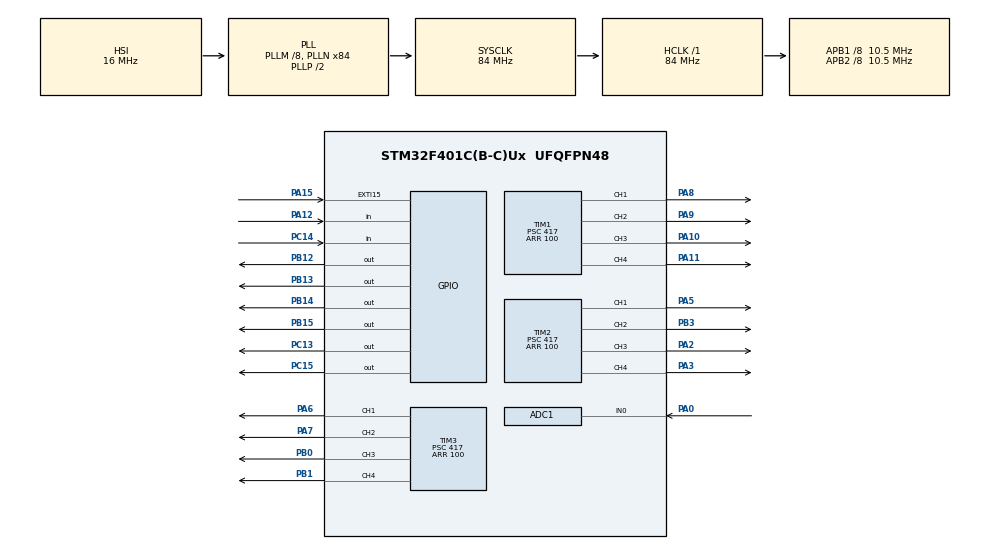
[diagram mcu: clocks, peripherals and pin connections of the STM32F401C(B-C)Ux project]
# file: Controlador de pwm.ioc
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ADC1.Channel-4\#ChannelRegularConversion=ADC_CHANNEL_0
ADC1.NbrOfConversionFlag=1
ADC1.Rank-4\#ChannelRegularConversion=1
ADC1.SamplingTime-4\#ChannelRegularConversion=ADC_SAMPLETIME_480CYCLES
ADC1.master=1
Mcu.Family=STM32F4
Mcu.Name=STM32F401C(B-C)Ux
Mcu.Package=UFQFPN48
NVIC.EXTI15_10_IRQn=true\:0\:0\:true\:false\:true\:true\:true\:true
NVIC.PriorityGroup=NVIC_PRIORITYGROUP_4
PA0-WKUP.Signal=ADCx_IN0
PA10.Signal=S_TIM1_CH3
PA11.Signal=S_TIM1_CH4
PA12.Signal=GPIO_Input
PA15.GPIO_ModeDefaultEXTI=GPIO_MODE_IT_FALLING
PA15.Signal=GPXTI15
PA2.Signal=S_TIM2_CH3
PA3.Signal=S_TIM2_CH4
PA5.Signal=S_TIM2_CH1_ETR
PA6.Signal=S_TIM3_CH1
PA7.Signal=S_TIM3_CH2
PA8.Signal=S_TIM1_CH1
PA9.Signal=S_TIM1_CH2
PB0.Signal=S_TIM3_CH3
PB1.Signal=S_TIM3_CH4
PB12.Signal=GPIO_Output
PB13.Signal=GPIO_Output
PB14.Signal=GPIO_Output
PB15.Signal=GPIO_Output
PB3.Signal=S_TIM2_CH2
PC13-ANTI_TAMP.Signal=GPIO_Output
PC14-OSC32_IN.Signal=GPIO_Input
PC15-OSC32_OUT.Signal=GPIO_Output
ProjectManager.HeapSize=0x200
ProjectManager.StackSize=0x400
ProjectManager.TargetToolchain=STM32CubeIDE
RCC.48MHZClocksFreq_Value=42000000
RCC.AHBFreq_Value=84000000
RCC.APB1CLKDivider=RCC_HCLK_DIV8
RCC.APB1Freq_Value=10500000
RCC.APB1TimFreq_Value=21000000
RCC.APB2CLKDivider=RCC_HCLK_DIV8
RCC.APB2Freq_Value=10500000
RCC.APB2TimFreq_Value=21000000
RCC.CortexFreq_Value=84000000
RCC.HCLKFreq_Value=84000000
RCC.HSE_VALUE=25000000
RCC.HSI_VALUE=16000000
RCC.LSE_VALUE=32768
RCC.PLLM=8
RCC.PLLN=84
RCC.SYSCLKFreq_VALUE=84000000
RCC.SYSCLKSource=RCC_SYSCLKSOURCE_PLLCLK
RCC.VCOOutputFreq_Value=168000000
SH.ADCx_IN0.0=ADC1_IN0,IN0
SH.S_TIM1_CH1.0=TIM1_CH1,PWM Generation1 CH1
SH.S_TIM1_CH2.0=TIM1_CH2,PWM Generation2 CH2
SH.S_TIM1_CH3.0=TIM1_CH3,PWM Generation3 CH3
SH.S_TIM1_CH4.0=TIM1_CH4,PWM Generation4 CH4
SH.S_TIM2_CH1_ETR.0=TIM2_CH1,PWM Generation1 CH1
SH.S_TIM2_CH2.0=TIM2_CH2,PWM Generation2 CH2
SH.S_TIM2_CH3.0=TIM2_CH3,PWM Generation3 CH3
SH.S_TIM2_CH4.0=TIM2_CH4,PWM Generation4 CH4
SH.S_TIM3_CH1.0=TIM3_CH1,PWM Generation1 CH1
SH.S_TIM3_CH2.0=TIM3_CH2,PWM Generation2 CH2
SH.S_TIM3_CH3.0=TIM3_CH3,PWM Generation3 CH3
SH.S_TIM3_CH4.0=TIM3_CH4,PWM Generation4 CH4
TIM1.Channel-PWM\ Generation1\ CH1=TIM_CHANNEL_1
TIM1.Channel-PWM\ Generation2\ CH2=TIM_CHANNEL_2
TIM1.Channel-PWM\ Generation3\ CH3=TIM_CHANNEL_3
TIM1.Channel-PWM\ Generation4\ CH4=TIM_CHANNEL_4
TIM1.Period=100
TIM1.Prescaler=417
TIM2.Channel-PWM\ Generation1\ CH1=TIM_CHANNEL_1
TIM2.Channel-PWM\ Generation2\ CH2=TIM_CHANNEL_2
TIM2.Channel-PWM\ Generation3\ CH3=TIM_CHANNEL_3
TIM2.Channel-PWM\ Generation4\ CH4=TIM_CHANNEL_4
TIM2.Period=100
TIM2.Prescaler=417
TIM3.Channel-PWM\ Generation1\ CH1=TIM_CHANNEL_1
TIM3.Channel-PWM\ Generation2\ CH2=TIM_CHANNEL_2
TIM3.Channel-PWM\ Generation3\ CH3=TIM_CHANNEL_3
TIM3.Channel-PWM\ Generation4\ CH4=TIM_CHANNEL_4
TIM3.Period=100
TIM3.Prescaler=417
VP_RTC_VS_RTC_Activate.Mode=RTC_Enabled
board=custom

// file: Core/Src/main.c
/* USER CODE BEGIN Header */
/**
 ******************************************************************************
 * @file           : main.c
 * @brief          : Main program body
 ******************************************************************************
 * @attention
 *
 * Copyright (c) 2025 STMicroelectronics.
 * All rights reserved.
 *
 * This software is licensed under terms that can be found in the LICENSE file
 * in the root directory of this software component.
 * If no LICENSE file comes with this software, it is provided AS-IS.
 *
 ******************************************************************************
 */
/* USER CODE END Header */
#include "main.h"

/* USER CODE BEGIN Includes */
#include "LCD.h"
#include <stdio.h>
/* USER CODE END Includes */

/* USER CODE BEGIN PTD */
LCD_PortType LCD_Port[] = {
		D4_Port,D5_Port,D6_Port,D7_Port
};

LCD_PinType LCD_Pin[] = {
		D4_Pin,D5_Pin,D6_Pin,D7_Pin
};
int frecuencia = 4,dutty = 10,cambio = 0,periodo = 0,last_frecuencia=0,last_dutty=0;

/* USER CODE END PTD */

ADC_HandleTypeDef hadc1;

RTC_HandleTypeDef hrtc;

TIM_HandleTypeDef htim1;
TIM_HandleTypeDef htim2;
TIM_HandleTypeDef htim3;

void SystemClock_Config(void);
static void MX_GPIO_Init(void);
static void MX_ADC1_Init(void);
static void MX_RTC_Init(void);
static void MX_TIM1_Init(void);
static void MX_TIM2_Init(void);
static void MX_TIM3_Init(void);

int main(void)
{

  /* MCU Configuration--------------------------------------------------------*/

  /* Reset of all peripherals, Initializes the Flash interface and the Systick. */
  HAL_Init();

  /* Configure the system clock */
  SystemClock_Config();

  /* Initialize all configured peripherals */
  MX_GPIO_Init();
  MX_ADC1_Init();
  MX_RTC_Init();
  MX_TIM1_Init();
  MX_TIM2_Init();
  MX_TIM3_Init();
  /* USER CODE BEGIN 2 */
	LCD_Structura LCD = LCD_Create(LCD_Port, LCD_Pin, RS_Port, RS_Pin, EN_Port, EN_Pin);
	pintarplantilla(&LCD);

	HAL_TIM_PWM_Start(&htim1, TIM_CHANNEL_1);
	HAL_TIM_PWM_Start(&htim1, TIM_CHANNEL_2);
	HAL_TIM_PWM_Start(&htim1, TIM_CHANNEL_3);
	HAL_TIM_PWM_Start(&htim1, TIM_CHANNEL_4);

	HAL_TIM_PWM_Start(&htim2, TIM_CHANNEL_1);
	HAL_TIM_PWM_Start(&htim2, TIM_CHANNEL_2);
	HAL_TIM_PWM_Start(&htim2, TIM_CHANNEL_3);
	HAL_TIM_PWM_Start(&htim2, TIM_CHANNEL_4);

	HAL_TIM_PWM_Start(&htim3, TIM_CHANNEL_1);
	HAL_TIM_PWM_Start(&htim3, TIM_CHANNEL_2);
	HAL_TIM_PWM_Start(&htim3, TIM_CHANNEL_3);
	HAL_TIM_PWM_Start(&htim3, TIM_CHANNEL_4);
  /* USER CODE END 2 */

  /* Infinite loop */
  /* USER CODE BEGIN WHILE */
	while (1){
	    if(HAL_GPIO_ReadPin(GPIOC, GPIO_PIN_14) == 0) {
	        HAL_Delay(200);
	        cambio = !cambio;
	    }

		periodo=(417*500)/frecuencia;

		htim1.Instance->PSC=periodo;
		htim1.Instance->CCR1=dutty;
		htim1.Instance->CCR2=dutty;
		htim1.Instance->CCR3=dutty;
		htim1.Instance->CCR4=dutty;

		htim2.Instance->PSC=periodo;
		htim2.Instance->CCR1=dutty;
		htim2.Instance->CCR2=dutty;
		htim2.Instance->CCR3=dutty;
		htim2.Instance->CCR4=dutty;

		htim3.Instance->PSC=periodo;
		htim3.Instance->CCR1=dutty;
		htim3.Instance->CCR2=dutty;
		htim3.Instance->CCR3=dutty;
		htim3.Instance->CCR4=dutty;

	    if (frecuencia != last_frecuencia) {
	        LCD_xy(&LCD, 11, 0);
	        LCD_cadena(&LCD, "     ");
	        LCD_xy(&LCD, 11, 0);
	        LCD_entero(&LCD, frecuencia);
	        LCD_cadena(&LCD, "Hz");
	        last_frecuencia = frecuencia;
	    }
	    if (dutty != last_dutty) {
	        LCD_xy(&LCD, 6, 1);
	        LCD_cadena(&LCD, "     ");
	        LCD_xy(&LCD, 6, 1);
	        LCD_entero(&LCD, dutty);
	        LCD_cadena(&LCD, "%");
	        last_dutty = dutty;
	    }

	    HAL_Delay(100);

    /* USER CODE END WHILE */

	}
}

void SystemClock_Config(void)
{
  RCC_OscInitTypeDef RCC_OscInitStruct = {0};
  RCC_ClkInitTypeDef RCC_ClkInitStruct = {0};

  /** Configure the main internal regulator output voltage
  */
  __HAL_RCC_PWR_CLK_ENABLE();
  __HAL_PWR_VOLTAGESCALING_CONFIG(PWR_REGULATOR_VOLTAGE_SCALE2);

  /** Initializes the RCC Oscillators according to the specified parameters
  * in the RCC_OscInitTypeDef structure.
  */
  RCC_OscInitStruct.OscillatorType = RCC_OSCILLATORTYPE_HSI|RCC_OSCILLATORTYPE_LSI;
  RCC_OscInitStruct.HSIState = RCC_HSI_ON;
  RCC_OscInitStruct.HSICalibrationValue = RCC_HSICALIBRATION_DEFAULT;
  RCC_OscInitStruct.LSIState = RCC_LSI_ON;
  RCC_OscInitStruct.PLL.PLLState = RCC_PLL_ON;
  RCC_OscInitStruct.PLL.PLLSource = RCC_PLLSOURCE_HSI;
  RCC_OscInitStruct.PLL.PLLM = 8;
  RCC_OscInitStruct.PLL.PLLN = 84;
  RCC_OscInitStruct.PLL.PLLP = RCC_PLLP_DIV2;
  RCC_OscInitStruct.PLL.PLLQ = 4;
  if (HAL_RCC_OscConfig(&RCC_OscInitStruct) != HAL_OK)
  {
    Error_Handler();
  }

  /** Initializes the CPU, AHB and APB buses clocks
  */
  RCC_ClkInitStruct.ClockType = RCC_CLOCKTYPE_HCLK|RCC_CLOCKTYPE_SYSCLK
                              |RCC_CLOCKTYPE_PCLK1|RCC_CLOCKTYPE_PCLK2;
  RCC_ClkInitStruct.SYSCLKSource = RCC_SYSCLKSOURCE_PLLCLK;
  RCC_ClkInitStruct.AHBCLKDivider = RCC_SYSCLK_DIV1;
  RCC_ClkInitStruct.APB1CLKDivider = RCC_HCLK_DIV8;
  RCC_ClkInitStruct.APB2CLKDivider = RCC_HCLK_DIV8;

  if (HAL_RCC_ClockConfig(&RCC_ClkInitStruct, FLASH_LATENCY_2) != HAL_OK)
  {
    Error_Handler();
  }
}

static void MX_ADC1_Init(void)
{

  ADC_ChannelConfTypeDef sConfig = {0};

  /** Configure the global features of the ADC (Clock, Resolution, Data Alignment and number of conversion)
  */
  hadc1.Instance = ADC1;
  hadc1.Init.ClockPrescaler = ADC_CLOCK_SYNC_PCLK_DIV2;
  hadc1.Init.Resolution = ADC_RESOLUTION_12B;
  hadc1.Init.ScanConvMode = DISABLE;
  hadc1.Init.ContinuousConvMode = DISABLE;
  hadc1.Init.DiscontinuousConvMode = DISABLE;
  hadc1.Init.ExternalTrigConvEdge = ADC_EXTERNALTRIGCONVEDGE_NONE;
  hadc1.Init.ExternalTrigConv = ADC_SOFTWARE_START;
  hadc1.Init.DataAlign = ADC_DATAALIGN_RIGHT;
  hadc1.Init.NbrOfConversion = 1;
  hadc1.Init.DMAContinuousRequests = DISABLE;
  hadc1.Init.EOCSelection = ADC_EOC_SINGLE_CONV;
  if (HAL_ADC_Init(&hadc1) != HAL_OK)
  {
    Error_Handler();
  }

  /** Configure for the selected ADC regular channel its corresponding rank in the sequencer and its sample time.
  */
  sConfig.Channel = ADC_CHANNEL_0;
  sConfig.Rank = 1;
  sConfig.SamplingTime = ADC_SAMPLETIME_480CYCLES;
  if (HAL_ADC_ConfigChannel(&hadc1, &sConfig) != HAL_OK)
  {
    Error_Handler();
  }

}

static void MX_RTC_Init(void)
{

  /** Initialize RTC Only
  */
  hrtc.Instance = RTC;
  hrtc.Init.HourFormat = RTC_HOURFORMAT_24;
  hrtc.Init.AsynchPrediv = 127;
  hrtc.Init.SynchPrediv = 255;
  hrtc.Init.OutPut = RTC_OUTPUT_DISABLE;
  hrtc.Init.OutPutPolarity = RTC_OUTPUT_POLARITY_HIGH;
  hrtc.Init.OutPutType = RTC_OUTPUT_TYPE_OPENDRAIN;
  if (HAL_RTC_Init(&hrtc) != HAL_OK)
  {
    Error_Handler();
  }

}

static void MX_TIM1_Init(void)
{

  TIM_MasterConfigTypeDef sMasterConfig = {0};
  TIM_OC_InitTypeDef sConfigOC = {0};
  TIM_BreakDeadTimeConfigTypeDef sBreakDeadTimeConfig = {0};

  htim1.Instance = TIM1;
  htim1.Init.Prescaler = 417;
  htim1.Init.CounterMode = TIM_COUNTERMODE_UP;
  htim1.Init.Period = 100;
  htim1.Init.ClockDivision = TIM_CLOCKDIVISION_DIV1;
  htim1.Init.RepetitionCounter = 0;
  htim1.Init.AutoReloadPreload = TIM_AUTORELOAD_PRELOAD_DISABLE;
  if (HAL_TIM_PWM_Init(&htim1) != HAL_OK)
  {
    Error_Handler();
  }
  sMasterConfig.MasterOutputTrigger = TIM_TRGO_RESET;
  sMasterConfig.MasterSlaveMode = TIM_MASTERSLAVEMODE_DISABLE;
  if (HAL_TIMEx_MasterConfigSynchronization(&htim1, &sMasterConfig) != HAL_OK)
  {
    Error_Handler();
  }
  sConfigOC.OCMode = TIM_OCMODE_PWM1;
  sConfigOC.Pulse = 0;
  sConfigOC.OCPolarity = TIM_OCPOLARITY_HIGH;
  sConfigOC.OCNPolarity = TIM_OCNPOLARITY_HIGH;
  sConfigOC.OCFastMode = TIM_OCFAST_DISABLE;
  sConfigOC.OCIdleState = TIM_OCIDLESTATE_RESET;
  sConfigOC.OCNIdleState = TIM_OCNIDLESTATE_RESET;
  if (HAL_TIM_PWM_ConfigChannel(&htim1, &sConfigOC, TIM_CHANNEL_1) != HAL_OK)
  {
    Error_Handler();
  }
  if (HAL_TIM_PWM_ConfigChannel(&htim1, &sConfigOC, TIM_CHANNEL_2) != HAL_OK)
  {
    Error_Handler();
  }
  if (HAL_TIM_PWM_ConfigChannel(&htim1, &sConfigOC, TIM_CHANNEL_3) != HAL_OK)
  {
    Error_Handler();
  }
  if (HAL_TIM_PWM_ConfigChannel(&htim1, &sConfigOC, TIM_CHANNEL_4) != HAL_OK)
  {
    Error_Handler();
  }
  sBreakDeadTimeConfig.OffStateRunMode = TIM_OSSR_DISABLE;
  sBreakDeadTimeConfig.OffStateIDLEMode = TIM_OSSI_DISABLE;
  sBreakDeadTimeConfig.LockLevel = TIM_LOCKLEVEL_OFF;
  sBreakDeadTimeConfig.DeadTime = 0;
  sBreakDeadTimeConfig.BreakState = TIM_BREAK_DISABLE;
  sBreakDeadTimeConfig.BreakPolarity = TIM_BREAKPOLARITY_HIGH;
  sBreakDeadTimeConfig.AutomaticOutput = TIM_AUTOMATICOUTPUT_DISABLE;
  if (HAL_TIMEx_ConfigBreakDeadTime(&htim1, &sBreakDeadTimeConfig) != HAL_OK)
  {
    Error_Handler();
  }
  HAL_TIM_MspPostInit(&htim1);

}

static void MX_TIM2_Init(void)
{

  TIM_MasterConfigTypeDef sMasterConfig = {0};
  TIM_OC_InitTypeDef sConfigOC = {0};

  htim2.Instance = TIM2;
  htim2.Init.Prescaler = 417;
  htim2.Init.CounterMode = TIM_COUNTERMODE_UP;
  htim2.Init.Period = 100;
  htim2.Init.ClockDivision = TIM_CLOCKDIVISION_DIV1;
  htim2.Init.AutoReloadPreload = TIM_AUTORELOAD_PRELOAD_DISABLE;
  if (HAL_TIM_PWM_Init(&htim2) != HAL_OK)
  {
    Error_Handler();
  }
  sMasterConfig.MasterOutputTrigger = TIM_TRGO_RESET;
  sMasterConfig.MasterSlaveMode = TIM_MASTERSLAVEMODE_DISABLE;
  if (HAL_TIMEx_MasterConfigSynchronization(&htim2, &sMasterConfig) != HAL_OK)
  {
    Error_Handler();
  }
  sConfigOC.OCMode = TIM_OCMODE_PWM1;
  sConfigOC.Pulse = 0;
  sConfigOC.OCPolarity = TIM_OCPOLARITY_HIGH;
  sConfigOC.OCFastMode = TIM_OCFAST_DISABLE;
  if (HAL_TIM_PWM_ConfigChannel(&htim2, &sConfigOC, TIM_CHANNEL_1) != HAL_OK)
  {
    Error_Handler();
  }
  if (HAL_TIM_PWM_ConfigChannel(&htim2, &sConfigOC, TIM_CHANNEL_2) != HAL_OK)
  {
    Error_Handler();
  }
  if (HAL_TIM_PWM_ConfigChannel(&htim2, &sConfigOC, TIM_CHANNEL_3) != HAL_OK)
  {
    Error_Handler();
  }
  if (HAL_TIM_PWM_ConfigChannel(&htim2, &sConfigOC, TIM_CHANNEL_4) != HAL_OK)
  {
    Error_Handler();
  }
  HAL_TIM_MspPostInit(&htim2);

}

static void MX_TIM3_Init(void)
{

  TIM_MasterConfigTypeDef sMasterConfig = {0};
  TIM_OC_InitTypeDef sConfigOC = {0};

  htim3.Instance = TIM3;
  htim3.Init.Prescaler = 417;
  htim3.Init.CounterMode = TIM_COUNTERMODE_UP;
  htim3.Init.Period = 100;
  htim3.Init.ClockDivision = TIM_CLOCKDIVISION_DIV1;
  htim3.Init.AutoReloadPreload = TIM_AUTORELOAD_PRELOAD_DISABLE;
  if (HAL_TIM_PWM_Init(&htim3) != HAL_OK)
  {
    Error_Handler();
  }
  sMasterConfig.MasterOutputTrigger = TIM_TRGO_RESET;
  sMasterConfig.MasterSlaveMode = TIM_MASTERSLAVEMODE_DISABLE;
  if (HAL_TIMEx_MasterConfigSynchronization(&htim3, &sMasterConfig) != HAL_OK)
  {
    Error_Handler();
  }
  sConfigOC.OCMode = TIM_OCMODE_PWM1;
  sConfigOC.Pulse = 0;
  sConfigOC.OCPolarity = TIM_OCPOLARITY_HIGH;
  sConfigOC.OCFastMode = TIM_OCFAST_DISABLE;
  if (HAL_TIM_PWM_ConfigChannel(&htim3, &sConfigOC, TIM_CHANNEL_1) != HAL_OK)
  {
    Error_Handler();
  }
  if (HAL_TIM_PWM_ConfigChannel(&htim3, &sConfigOC, TIM_CHANNEL_2) != HAL_OK)
  {
    Error_Handler();
  }
  if (HAL_TIM_PWM_ConfigChannel(&htim3, &sConfigOC, TIM_CHANNEL_3) != HAL_OK)
  {
    Error_Handler();
  }
  if (HAL_TIM_PWM_ConfigChannel(&htim3, &sConfigOC, TIM_CHANNEL_4) != HAL_OK)
  {
    Error_Handler();
  }
  HAL_TIM_MspPostInit(&htim3);

}

static void MX_GPIO_Init(void)
{
  GPIO_InitTypeDef GPIO_InitStruct = {0};

  /* GPIO Ports Clock Enable */
  __HAL_RCC_GPIOC_CLK_ENABLE();
  __HAL_RCC_GPIOA_CLK_ENABLE();
  __HAL_RCC_GPIOB_CLK_ENABLE();

  /*Configure GPIO pin Output Level */
  HAL_GPIO_WritePin(GPIOC, GPIO_PIN_13|GPIO_PIN_15, GPIO_PIN_RESET);

  /*Configure GPIO pin Output Level */
  HAL_GPIO_WritePin(GPIOB, GPIO_PIN_12|GPIO_PIN_13|GPIO_PIN_14|GPIO_PIN_15, GPIO_PIN_RESET);

  /*Configure GPIO pins : PC13 PC15 */
  GPIO_InitStruct.Pin = GPIO_PIN_13|GPIO_PIN_15;
  GPIO_InitStruct.Mode = GPIO_MODE_OUTPUT_PP;
  GPIO_InitStruct.Pull = GPIO_NOPULL;
  GPIO_InitStruct.Speed = GPIO_SPEED_FREQ_LOW;
  HAL_GPIO_Init(GPIOC, &GPIO_InitStruct);

  /*Configure GPIO pin : PC14 */
  GPIO_InitStruct.Pin = GPIO_PIN_14;
  GPIO_InitStruct.Mode = GPIO_MODE_INPUT;
  GPIO_InitStruct.Pull = GPIO_NOPULL;
  HAL_GPIO_Init(GPIOC, &GPIO_InitStruct);

  /*Configure GPIO pins : PB12 PB13 PB14 PB15 */
  GPIO_InitStruct.Pin = GPIO_PIN_12|GPIO_PIN_13|GPIO_PIN_14|GPIO_PIN_15;
  GPIO_InitStruct.Mode = GPIO_MODE_OUTPUT_PP;
  GPIO_InitStruct.Pull = GPIO_NOPULL;
  GPIO_InitStruct.Speed = GPIO_SPEED_FREQ_LOW;
  HAL_GPIO_Init(GPIOB, &GPIO_InitStruct);

  /*Configure GPIO pin : PA12 */
  GPIO_InitStruct.Pin = GPIO_PIN_12;
  GPIO_InitStruct.Mode = GPIO_MODE_INPUT;
  GPIO_InitStruct.Pull = GPIO_NOPULL;
  HAL_GPIO_Init(GPIOA, &GPIO_InitStruct);

  /*Configure GPIO pin : PA15 */
  GPIO_InitStruct.Pin = GPIO_PIN_15;
  GPIO_InitStruct.Mode = GPIO_MODE_IT_FALLING;
  GPIO_InitStruct.Pull = GPIO_NOPULL;
  HAL_GPIO_Init(GPIOA, &GPIO_InitStruct);

  /* EXTI interrupt init*/
  HAL_NVIC_SetPriority(EXTI15_10_IRQn, 0, 0);
  HAL_NVIC_EnableIRQ(EXTI15_10_IRQn);

}

/* USER CODE BEGIN 4 */
volatile uint32_t last_interrupt_time = 0;
const uint32_t debounce_delay = 3;

void HAL_GPIO_EXTI_Callback(uint16_t GPIO_Pin)
{
	if (GPIO_Pin == GPIO_PIN_15) {
		uint32_t current_time = HAL_GetTick();
		if ((current_time - last_interrupt_time) > debounce_delay) {
			EXTI->IMR &= ~(GPIO_PIN_15 | GPIO_PIN_12);

			for(volatile int i = 0; i < 100; i++);
			GPIO_PinState pin12_state = HAL_GPIO_ReadPin(GPIOA, GPIO_PIN_12);
			GPIO_PinState pin15_state = HAL_GPIO_ReadPin(GPIOA, GPIO_PIN_15);

			if ((pin15_state == GPIO_PIN_RESET)&&cambio==1) {
				if (pin12_state == GPIO_PIN_SET) {
					dutty--;
				} else {
					dutty++;
				}

				if(dutty>=100){
					dutty=100;
				}
				if(dutty<=0){
					dutty=0;
				}
			}

			if ((pin15_state == GPIO_PIN_RESET)&&cambio==0) {
				if (pin12_state == GPIO_PIN_SET) {
					frecuencia--;
				} else {
					frecuencia++;
				}
				if(frecuencia>=500){
					frecuencia=500;
				}
				if(frecuencia<=4){
					frecuencia=4;
				}

			}
			last_interrupt_time = current_time;
			EXTI->IMR |= (GPIO_PIN_15 | GPIO_PIN_12);
		}
	}
}
/* USER CODE END 4 */

void Error_Handler(void)
{
	__disable_irq();
	while (1)
	{
	}
}
